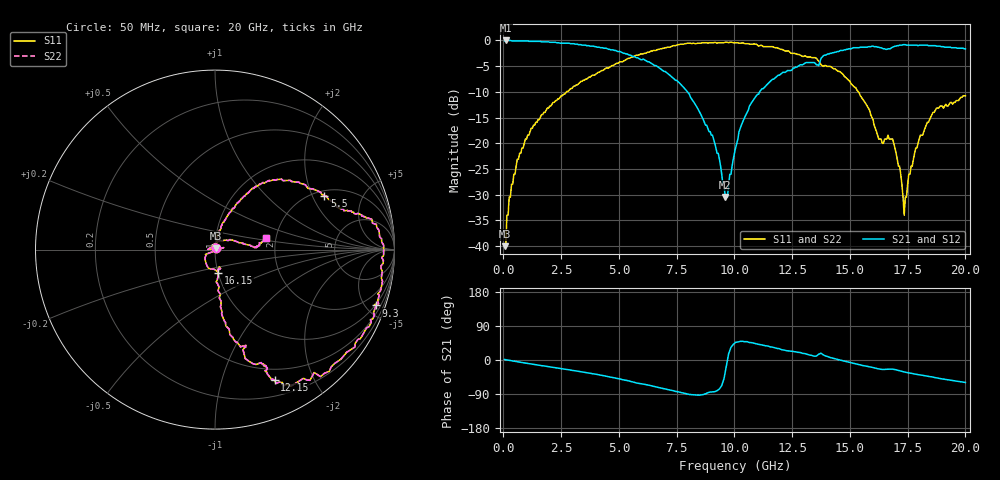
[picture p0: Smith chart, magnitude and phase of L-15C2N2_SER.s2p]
# MHZ S MA R 50
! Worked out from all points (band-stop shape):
!   400 points, 50 MHz to 20 GHz, reference 50 ohm
!   highest |S21| = 0.00 dB at 100 MHz (marker M1); lowest = -30.5 dB at 9.6 GHz (marker M2)
!   |S21| within 3 dB of the highest: start of sweep to 5.56 GHz; 13.84 GHz to end of sweep
!   lowest |S11| = -40.0 dB at 50 MHz (marker M3), VSWR 1.02, Z = 50.6 + j0.804 ohm
!   |S11| at or under -10 dB: start of sweep to 2.731 GHz; 15.37 GHz to end of sweep
!   |S22| runs from -40.0 to -0.4 dB; largest |S21 - S12| = 0
!   S11 on the Smith chart (normalised r, x): 50 MHz: 1.01, +0.02; 5.5 GHz: 2.21, +2.48; 9.3 GHz: 0.91, -5.81; 12.15 GHz: 0.37, -1.49; 16.15 GHz: 1.00, -0.26; 20 GHz: 1.77, +0.25
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50  0.01 52.6  0.99 1.3  0.99 1.3  0.01 52.6
100  0.01 66.2  1 0.7  1 0.7  0.01 66.2
150  0.02 79.8  1 0.1  1 0.1  0.02 79.8
350  0.04 79.5  0.99 -1.9  0.99 -1.9  0.04 79.5
950  0.11 77.1  0.99 -8.1  0.99 -8.1  0.11 77.1
3400  0.4 58.1  0.9 -31.4  0.9 -31.4  0.4 58.1
5500  0.68 26.3  0.72 -56.4  0.72 -56.4  0.68 26.3
6700  0.82 14.2  0.55 -72.4  0.55 -72.4  0.82 14.2
9300  0.95 -19.1  0.08 -78.6  0.08 -78.6  0.95 -19.1
9600  0.96 -22.4  0.03 -32.5  0.03 -32.5  0.96 -22.4
10050  0.95 -28.9  0.09 46.7  0.09 46.7  0.95 -28.9
10750  0.92 -43.8  0.25 45.8  0.25 45.8  0.92 -43.8
12150  0.8 -65.5  0.49 26.3  0.49 26.3  0.8 -65.5
13350  0.68 -67.8  0.61 12.1  0.61 12.1  0.68 -67.8
15250  0.35 -83.5  0.85 -10.2  0.85 -10.2  0.35 -83.5
16150  0.13 -82.6  0.87 -22.2  0.87 -22.2  0.13 -82.6
16700  0.11 -91.6  0.83 -24.2  0.83 -24.2  0.11 -91.6
17150  0.06 -153.2  0.9 -28.4  0.9 -28.4  0.06 -153.2
17350  0.02 144.0  0.91 -31.6  0.91 -31.6  0.02 144.0
17550  0.05 70.3  0.9 -33.9  0.9 -33.9  0.05 70.3
18050  0.12 24.1  0.9 -39.4  0.9 -39.4  0.12 24.1
20000  0.29 12.7  0.83 -59.4  0.83 -59.4  0.29 12.7
